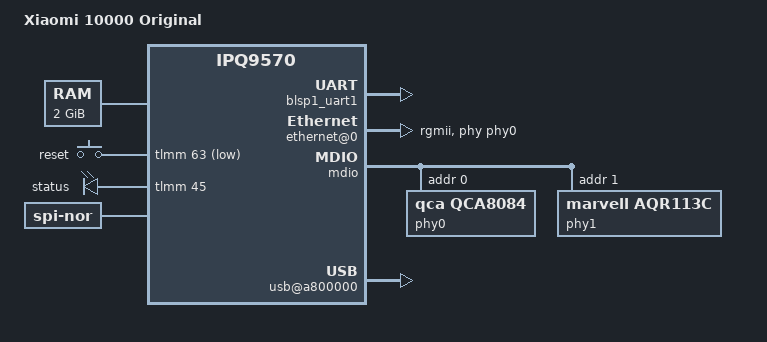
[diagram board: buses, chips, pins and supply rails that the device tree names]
/dts-v1/;
/plugin/;

/ {
    model = "Xiaomi 10000 Original";
    compatible = "xiaomi,10000,Original", "qcom,ipq9570";

    memory@80000000 {
        device_type = "memory";
        reg = <0x80000000 0x80000000>; // 2GB DDR4
    };

    chosen {
        bootargs = "console=ttyMSM0,115200n8";
    };

    aliases {
        serial0 = &blsp1_uart1;
    };

    soc {
        #address-cells = <1>;
        #size-cells = <1>;
        compatible = "simple-bus";
        ranges;

        blsp1_uart1: serial@78af000 {
            compatible = "qcom,msm-uart";
            reg = <0x78af000 0x1000>;
            interrupts = <0 107 0>;
            status = "okay";
        };
    };

    gpio-keys {
        compatible = "gpio-keys";
        reset {
            label = "reset";
            gpios = <&tlmm 63 GPIO_ACTIVE_LOW>;
            linux,code = <KEY_RESTART>;
        };
    };

    leds {
        compatible = "gpio-leds";
        status {
            label = "status";
            gpios = <&tlmm 45 GPIO_ACTIVE_HIGH>;
        };
    };

    ethernet@0 {
        compatible = "qcom,nss-gmac";
        reg = <0x00000000 0x10000>;
        phy-mode = "rgmii";
        phy-handle = <&phy0>;
        status = "okay";
    };

    mdio {
        #address-cells = <1>;
        #size-cells = <0>;

        phy0: ethernet-phy@0 {
            reg = <0>;
            compatible = "qca,qca8084"; // 2.5G PHY
        };

        phy1: ethernet-phy@1 {
            reg = <1>;
            compatible = "marvell,aqr113c"; // 10G PHY
        };
    };

    wifi_2g {
        compatible = "qcom,qcn6214";
        status = "okay";
        fems = "qpf4259";
    };

    wifi_5g_low {
        compatible = "qcom,qcn6274";
        status = "okay";
        fems = "qpf4559";
        filter = "5235B";
    };

    wifi_5g_high {
        compatible = "qcom,qcn6274";
        status = "okay";
        fems = "qpf4559";
        filter = "5697D";
    };

    flash@0 {
        compatible = "jedec,spi-nor";
        reg = <0>;
        spi-max-frequency = <50000000>;
        label = "spi-nor";
        spi-flash-size = <0x10000000>; // 256MB
    };

    usb@a800000 {
        compatible = "qcom,dwc3";
        reg = <0xa800000 0x100000>;
        status = "okay";
    };
};
